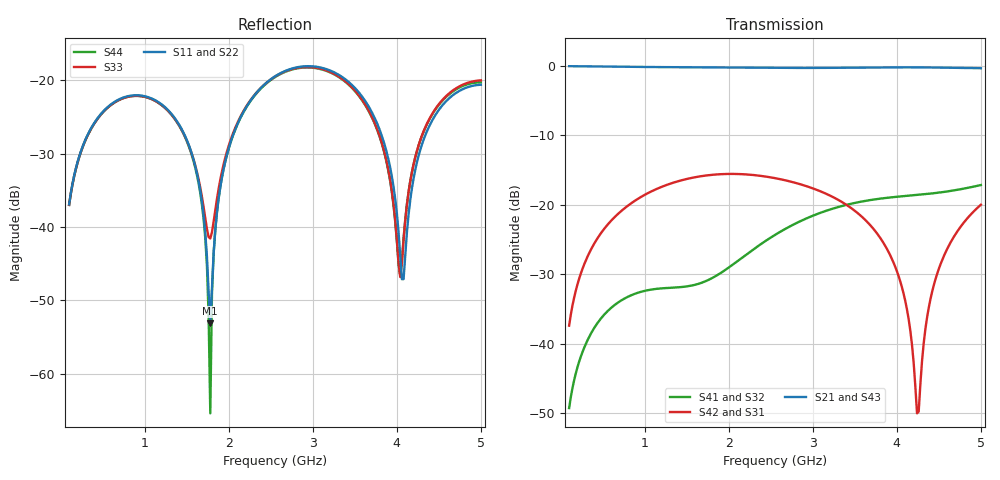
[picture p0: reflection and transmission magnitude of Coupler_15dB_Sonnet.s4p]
! Sonnet Data File
! From: sonnet Version : 18.53-Lite
! From Emgraph Data:
! Data File Written: 06/26/2025 06:00:17
!< HDATE 06/26/2025 05:57:32
!< MDATE 06/26/2025 05:57:32
!< PARAMS
!< Lfeed = 10.0
!< W0 = 1.08
!< Ltrans = 1.27
!< Lcoupled = 22.75
!< Wcoupled = 1.0
!< W0_1 = 1.080008
!< W0_2 = 1.08
!< END PARAMS
# GHZ S MA R 50.00000
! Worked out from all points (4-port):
!   246 points, 100 MHz to 5 GHz, reference 50 ohm
!   strongest paths, dB at 100 MHz, 1.32 GHz, 2.56 GHz, 3.78 GHz, 5 GHz:
!     S21: 0.0, -0.2, -0.3, -0.2, -0.3
!     S43: 0.0, -0.2, -0.3, -0.2, -0.3
!     S42: -37.4, -16.9, -16.2, -24.4, -20.0
!     S31: -37.4, -16.9, -16.2, -24.4, -20.0
!     S41: -49.3, -31.9, -24.3, -19.1, -17.1
!     S32: -49.3, -32.1, -24.4, -19.1, -17.2
!   lowest |S11| = -53.1 dB at 1.78 GHz (marker M1), VSWR 1.00, Z = 49.8 - j0.0535 ohm
!   |S11| at or under -10 dB: start of sweep to end of sweep
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0.1  0.01426 78.3  0.9989 -9.3  0.01349 80.6  0.003436 -102.0
     0.9989 -9.3  0.01426 78.3  0.003436 -102.1  0.01349 80.6
     0.01349 80.6  0.003436 -102.1  0.01415 78.2  0.9989 -9.3
     0.003436 -102.0  0.01349 80.6  0.9989 -9.3  0.01415 78.4
1.38  0.05294 -38.3  0.982 -126.3  0.1471 -36.8  0.02543 126.7
      0.982 -126.3  0.05304 -41.3  0.025 125.3  0.1471 -36.8
      0.1471 -36.8  0.025 125.3  0.0524 -43.1  0.982 -126.3
      0.02543 126.7  0.1471 -36.8  0.982 -126.3  0.05215 -36.8
1.78  0.002201 -165.9  0.9794 -162.8  0.1641 -72.7  0.02924 107.9
      0.9794 -162.8  0.006207 -164.7  0.02821 107.2  0.1642 -72.8
      0.1641 -72.7  0.02821 107.2  0.008355 -167.1  0.9794 -162.8
      0.02924 107.9  0.1642 -72.8  0.9794 -162.8  0.0005375 115.8
1.88  0.01579 107.2  0.9786 -171.9  0.166 -81.6  0.03164 103.4
      0.9786 -171.9  0.01708 121.5  0.0305 102.9  0.1661 -81.7
      0.166 -81.6  0.0305 102.9  0.01833 127.6  0.9786 -172.0
      0.03164 103.4  0.1661 -81.7  0.9786 -172.0  0.01586 98.9
2.32  0.08094 61.4  0.9739 147.9  0.1634 -120.5  0.04911 73.9
      0.9739 147.9  0.08146 65.1  0.04784 74.3  0.1635 -120.6
      0.1634 -120.5  0.04784 74.3  0.08123 67.0  0.9739 147.9
      0.04911 73.9  0.1635 -120.6  0.9739 147.9  0.08023 59.5
4.26  0.03074 57.3  0.9791 -29.7  0.002662 -50.5  0.1183 -119.3
      0.9791 -29.7  0.0307 60.1  0.1182 -120.0  0.003247 -49.1
      0.002662 -50.5  0.1182 -120.0  0.0362 61.8  0.9789 -29.8
      0.1183 -119.3  0.003247 -49.1  0.9789 -29.8  0.03608 55.9
5  0.09321 -1.4  0.9655 -98.1  0.09963 179.0  0.139 176.6
   0.9655 -98.1  0.09486 3.4  0.1375 175.3  0.1002 179.1
   0.09963 179.0  0.1375 175.3  0.09985 5.2  0.9651 -98.2
   0.139 176.6  0.1002 179.1  0.9651 -98.2  0.09684 -4.2
